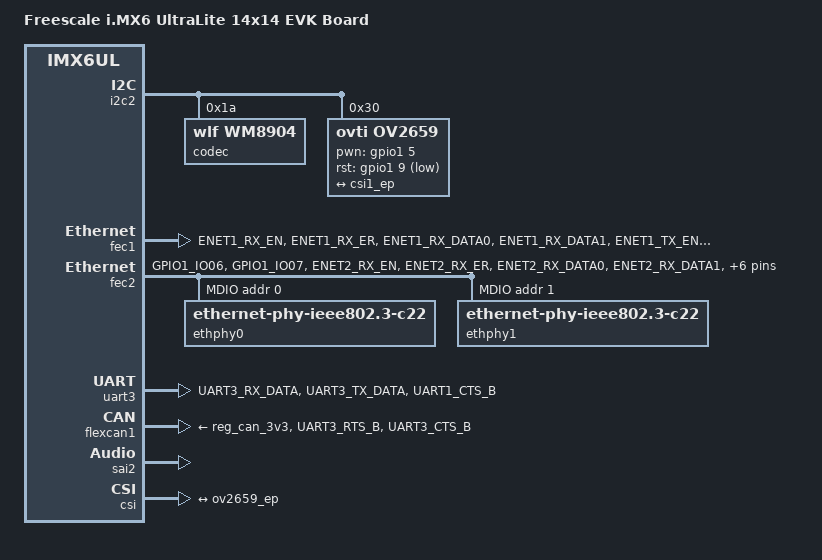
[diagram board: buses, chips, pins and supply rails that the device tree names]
/*
 * Copyright (C) 2017 MYiR Technology Company
 *
 * This program is free software; you can redistribute it and/or modify
 * it under the terms of the GNU General Public License version 2 as
 * published by the Free Software Foundation.
 */

&iomuxc {
	imx6ul-evk {
		pinctrl_flexcan1: flexcan1grp{
			fsl,pins = <
				MX6UL_PAD_UART3_RTS_B__FLEXCAN1_RX	0x1b020
				MX6UL_PAD_UART3_CTS_B__FLEXCAN1_TX	0x1b020
			>;
		};

        pinctrl_uart3: uart3grp {
			fsl,pins = <
				MX6UL_PAD_UART3_RX_DATA__UART3_DCE_RX	0x1b0b1
				MX6UL_PAD_UART3_TX_DATA__UART3_DCE_TX	0x1b0b1
				MX6UL_PAD_UART1_CTS_B__GPIO1_IO18       0x1b0b1 /* RS485 RE/DE */
			>;
		};

        pinctrl_enet1_alt: enet1grp {
			fsl,pins = <
				MX6UL_PAD_ENET1_RX_EN__ENET1_RX_EN	0x1b0b0
				MX6UL_PAD_ENET1_RX_ER__ENET1_RX_ER	0x1b0b0
				MX6UL_PAD_ENET1_RX_DATA0__ENET1_RDATA00	0x1b0b0
				MX6UL_PAD_ENET1_RX_DATA1__ENET1_RDATA01	0x1b0b0
				MX6UL_PAD_ENET1_TX_EN__ENET1_TX_EN	0x1b0b0
				MX6UL_PAD_ENET1_TX_DATA0__ENET1_TDATA00	0x1b0b0
				MX6UL_PAD_ENET1_TX_DATA1__ENET1_TDATA01	0x1b0b0
				MX6UL_PAD_ENET1_TX_CLK__ENET1_REF_CLK1	0x4001b031
				MX6UL_PAD_SNVS_TAMPER6__GPIO5_IO06	0x1b0b0
			>;
		};
        
        pinctrl_enet2_alt: enet2grp {
			fsl,pins = <
				MX6UL_PAD_GPIO1_IO06__ENET2_MDIO	0x1b0b0
				MX6UL_PAD_GPIO1_IO07__ENET2_MDC		0x1b0b0
				MX6UL_PAD_ENET2_RX_EN__ENET2_RX_EN	0x1b0b0
				MX6UL_PAD_ENET2_RX_ER__ENET2_RX_ER	0x1b0b0
				MX6UL_PAD_ENET2_RX_DATA0__ENET2_RDATA00	0x1b0b0
				MX6UL_PAD_ENET2_RX_DATA1__ENET2_RDATA01	0x1b0b0
				MX6UL_PAD_ENET2_TX_EN__ENET2_TX_EN	0x1b0b0
				MX6UL_PAD_ENET2_TX_DATA0__ENET2_TDATA00	0x1b0b0
				MX6UL_PAD_ENET2_TX_DATA1__ENET2_TDATA01	0x1b0b0
				MX6UL_PAD_ENET2_TX_CLK__ENET2_REF_CLK2	0x4001b031
				MX6UL_PAD_SNVS_TAMPER8__GPIO5_IO08	0x1b0b0
			>;
		};
    };
};

&i2c2 {

	codec: wm8904@1a {
		compatible = "wlf,wm8904";
		reg = <0x1a>;
		clocks = <&clks IMX6UL_CLK_SAI2>;
		clock-names = "mclk";
	};

	ov5640: ov5640@3c {
		compatible = "ovti,ov5640";
		reg = <0x3c>;
		pinctrl-names = "default";
		pinctrl-0 = <&pinctrl_csi1>;
		clocks = <&clks IMX6UL_CLK_CSI>;
		clock-names = "csi_mclk";
		pwn-gpios = <&gpio1 5 1>;
		rst-gpios = <&gpio1 9 0>;
		csi_id = <0>;
		mclk = <24000000>;
		mclk_source = <0>;
		status = "disabled";
		port {
			ov5640_ep: endpoint {
				remote-endpoint = <&csi1_ep>;
			};
		};
	};
	ov2659: ov2659@30 {
		compatible = "ovti,ov2659";
		reg = <0x30>;
		pinctrl-names = "default";
		pinctrl-0 = <&pinctrl_csi1>;
		clocks = <&clks IMX6UL_CLK_CSI>;
		clock-names = "xvclk";
		pwn-gpios = <&gpio1 5 GPIO_ACTIVE_HIGH>;
	    rst-gpios = <&gpio1 9 GPIO_ACTIVE_LOW>;
		status = "okay";
		port {
			ov2659_ep: endpoint {
				remote-endpoint = <&csi1_ep>;
                link-frequencies = /bits/ 64 <70000000>;
			};
		};
	};
};

&fec1 {
    pinctrl-names = "default";
    pinctrl-0 = <&pinctrl_enet1_alt>;
    status = "okay";
    /delete-node/ mdio;
};

&fec2 {
	pinctrl-names = "default";
	pinctrl-0 = <&pinctrl_enet2_alt>;
    phy-reset-gpios = <&gpio5 8 GPIO_ACTIVE_LOW>;
    status = "okay";

    mdio {
		#address-cells = <1>;
		#size-cells = <0>;

		ethphy0: ethernet-phy@0 {
			compatible = "ethernet-phy-ieee802.3-c22";
			reg = <0>;
		};
		ethphy1: ethernet-phy@1 {
			compatible = "ethernet-phy-ieee802.3-c22";
			reg = <1>;
		};
	};
};

&uart3 {
	pinctrl-names = "default";
	pinctrl-0 = <&pinctrl_uart3>;
	fsl,rs485-gpio-txen = <&gpio1 18 GPIO_ACTIVE_HIGH>;
    linux,rs485-enabled-at-boot-time;
	status = "okay";
};

&flexcan1 {
	pinctrl-names = "default";
	pinctrl-0 = <&pinctrl_flexcan1>;
	xceiver-supply = <&reg_can_3v3>;
	status = "okay";
};

&sai2 {
    status = "okay";
};

&csi {
	status = "okay";

	port {
		csi1_ep: endpoint {
			remote-endpoint = <&ov2659_ep>;
		};
	};
};

/ {
	model = "Freescale i.MX6 UltraLite 14x14 EVK Board";
	compatible = "fsl,imx6ul-14x14-evk", "fsl,imx6ul";
    sound {
		compatible = "fsl,imx6ul-evk-wm8904",
			   "fsl,imx-audio-wm8904";
		model = "wm8904-audio";
		cpu-dai = <&sai2>;
		audio-codec = <&codec>;
		asrc-controller = <&asrc>;
		gpr = <&gpr>;
		audio-routing =
			"Headphone Jack", "HPOUTL",
			"Headphone Jack", "HPOUTR",
			"IN2L", "Line In Jack",
			"IN2R", "Line In Jack",
			"Mic", "MICBIAS",
			"IN1L", "Mic";
    };
};
